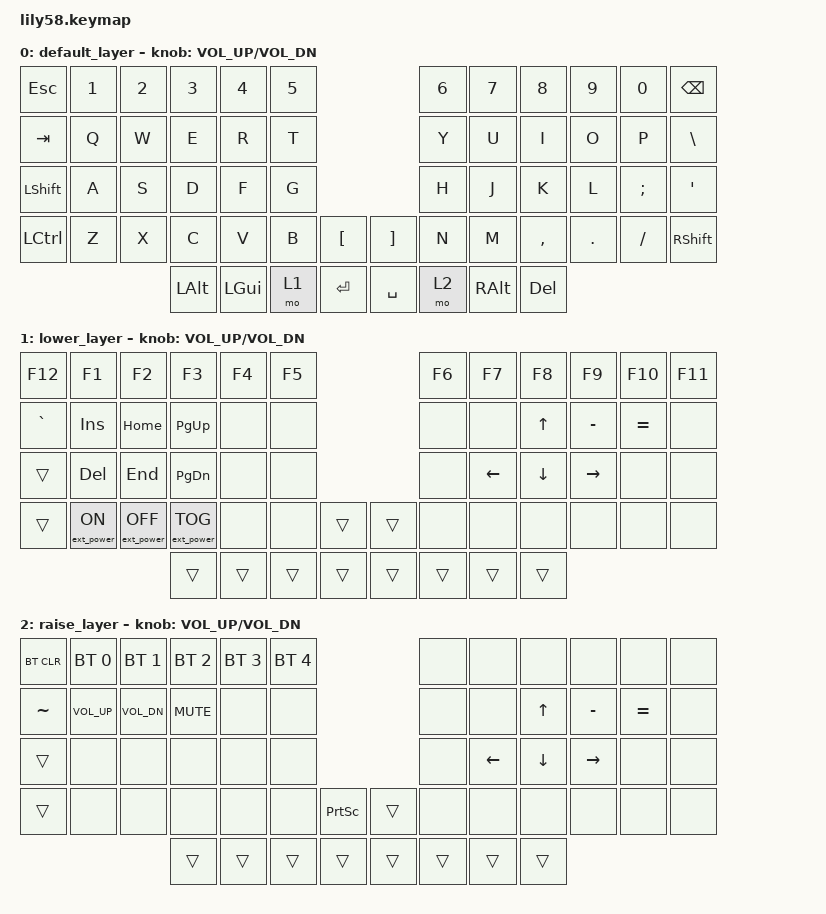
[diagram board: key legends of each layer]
/*
 * Copyright (c) 2020 The ZMK Contributors
 *
 * SPDX-License-Identifier: MIT
 */

#include <behaviors.dtsi>
#include <dt-bindings/zmk/keys.h>
#include <dt-bindings/zmk/bt.h>
#include <dt-bindings/zmk/ext_power.h>

/ {
    keymap {
        compatible = "zmk,keymap";

        default_layer {
// ------------------------------------------------------------------------------------------------------------
// |  ESC  |  1  |  2  |  3   |  4   |  5   |                   |  6   |  7    |  8    |  9   |   0   | BSPC  |
// |  TAB  |  Q  |  W  |  E   |  R   |  T   |                   |  Y   |  U    |  I    |  O   |   P   |   \   |
// | SHIFT |  A  |  S  |  D   |  F   |  G   |                   |  H   |  J    |  K    |  L   |   ;   |   '   |
// |  CTRL |  Z  |  X  |  C   |  V   |  B   |   "["  |  |  "]"  |  N   |  M    |  ,    |  .   |   /   | SHIFT |
//                     | ALT  | GUI  | LOWER|  ENTER |  | SPACE | RAISE| RALT  | DEL   |
            bindings = <
&kp ESC   &kp N1 &kp N2 &kp N3   &kp N4   &kp N5                      &kp N6 &kp N7    &kp N8    &kp N9  &kp N0   &kp BSPC
&kp TAB   &kp Q  &kp W  &kp E    &kp R    &kp T                       &kp Y  &kp U     &kp I     &kp O   &kp P    &kp BSLH
&kp LSHFT &kp A  &kp S  &kp D    &kp F    &kp G                       &kp H  &kp J     &kp K     &kp L   &kp SEMI &kp SQT
&kp LCTRL &kp Z  &kp X  &kp C    &kp V    &kp B  &kp LBKT   &kp RBKT  &kp N  &kp M     &kp COMMA &kp DOT &kp FSLH &kp RSHFT
                        &kp LALT &kp LGUI &mo 1  &kp RET    &kp SPACE &mo 2  &kp RALT  &kp DEL
            >;

            sensor-bindings = <&inc_dec_kp C_VOL_UP C_VOL_DN>;
        };

        lower_layer {
// ------------------------------------------------------------------------------------------------------------
// | BTCLR | BT1 | BT2 |  BT3 |  BT4 |  BT5 |                   |      |       |       |      |       |       |
// |  F1   |  F2 |  F3 |  F4  |  F5  |  F6  |                   |  F7  |  F8   |  F9   |  F10 |  F11  |  F12  |
// |   `   |  !  |  @  |  #   |  $   |  %   |                   |  ^   |  &    |  *    |  (   |   )   |   ~   |
// |       |     |     |      |      |      |        |  |       |      |  _    |  +    |  {   |   }   |  "|"  |
//                     |      |      |      |        |  |       |      |       |       |
            bindings = <
&kp F12     &kp F1            &kp F2            &kp F3            &kp F4    &kp F5                    &kp F6    &kp F7    &kp F8    &kp F9    &kp F10   &kp F11
&kp GRAVE   &kp INS             &kp HOME        &kp PG_UP         &none     &none                     &none     &none     &kp UP    &kp MINUS &kp EQUAL &none
&trans      &kp DEL             &kp END         &kp PG_DN         &none     &none                     &none     &kp LEFT  &kp DOWN  &kp RIGHT &none     &none
&trans      &ext_power EP_ON  &ext_power EP_OFF &ext_power EP_TOG &none     &none   &trans   &trans   &none     &none     &none     &none     &none     &none
                                            &trans            &trans    &trans  &trans   &trans   &trans    &trans    &trans
            >;

            sensor-bindings = <&inc_dec_kp C_VOL_UP C_VOL_DN>;
        };

        raise_layer {
// ------------------------------------------------------------------------------------------------------------
// |       |     |     |      |      |      |                   |      |       |       |      |       |       |
// |   `   |  1  |  2  |  3   |  4   |  5   |                   |  6   |   7   |   8   |  9   |   0   |       |
// |   F1  |  F2 |  F3 |  F4  |  F5  |  F6  |                   |      |   <-  |   v   |  ^   |  ->   |       |
// |   F7  |  F8 |  F9 |  F10 |  F11 |  F12 |        |  |       |  +   |   -   |   =   |  [   |   ]   |   \   |
//                     |      |      |      |        |  |       |      |       |       |
            bindings = <
&bt BT_CLR  &bt BT_SEL 0  &bt BT_SEL 1  &bt BT_SEL 2  &bt BT_SEL 3  &bt BT_SEL 4                  &none      &none    &none    &none   &none    &none
&kp TILDE   &kp K_VOL_UP  &kp C_VOL_DN  &kp K_MUTE    &none         &none                         &none      &none    &kp UP      &kp MINUS  &kp EQUAL   &none
&trans      &none         &none         &none         &none         &none                         &none      &kp LEFT    &kp DOWN    &kp RIGHT  &none    &none
&trans      &none         &none         &none         &none         &none       &kp PSCRN  &trans   &none      &none    &none    &none   &none    &none
                                        &trans        &trans        &trans      &trans   &trans   &trans     &trans   &trans
            >;

            sensor-bindings = <&inc_dec_kp C_VOL_UP C_VOL_DN>;
        };
    };
};
